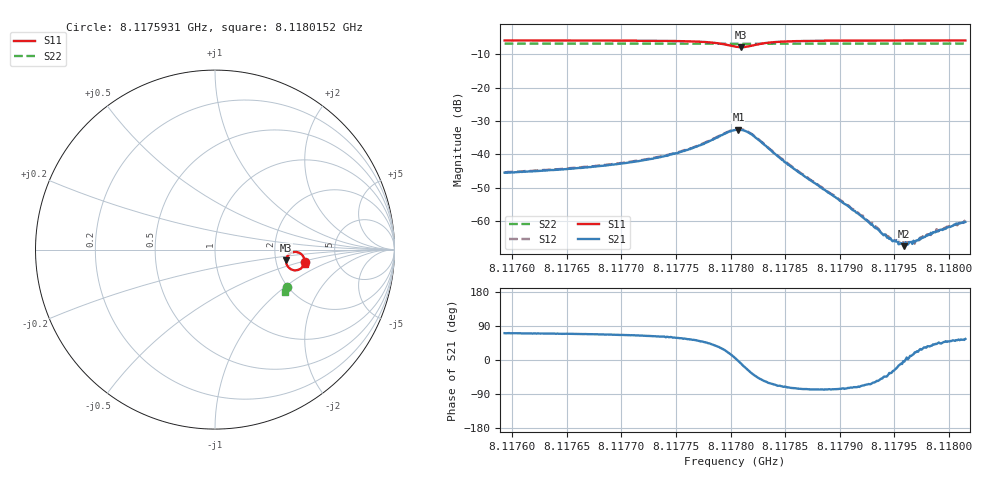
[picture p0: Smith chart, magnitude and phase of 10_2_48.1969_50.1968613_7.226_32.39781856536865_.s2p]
#  HZ  S  RI  R  50.00
! Rohde & Schwarz Vector Network Analyzer
! Rohde-Schwarz,ZNB20-2Port,1311601062101988,3.16
! Created: UTC 3/20/2024, 11:36:31 AM
! freq[Hz]  re:S11  im:S11  re:S21  im:S21  re:S12  im:S12  re:S22  im:S22
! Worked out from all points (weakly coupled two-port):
!   401 points, 8.1175931 GHz to 8.1180152 GHz, reference 50 ohm
!   highest |S21| = -32.60 dB at 8.1178073 GHz (marker M1); lowest = -67.4 dB at 8.1179592 GHz (marker M2)
!   lowest |S11| = -7.9 dB at 8.1178094 GHz (marker M3), VSWR 2.34, Z = 114 - j16 ohm
!   |S11| at or under -10 dB: nowhere
!   |S22| runs from -7.0 to -6.9 dB; largest |S21 - S12| = 0.00062
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8.11759308e9  0.5004 -0.0668  0.00175 0.00503  0.00183 0.00508  0.4017 -0.2081
8.11766377e9  0.4979 -0.0765  0.0023 0.00585  0.00242 0.00599  0.3994 -0.2127
8.11769965e9  0.4954 -0.0831  0.00296 0.00665  0.0031 0.00678  0.3982 -0.2151
8.11773447e9  0.4901 -0.0927  0.00422 0.00797  0.00439 0.0081  0.3968 -0.2176
8.11776296e9  0.4787 -0.1049  0.007 0.00972  0.00733 0.00986  0.3952 -0.2197
8.1177904e9  0.4387 -0.1148  0.0158 0.0101  0.0162 0.0102  0.3925 -0.2213
8.11780412e9  0.4003 -0.0847  0.0231 0.0021  0.0234 0.00216  0.3907 -0.2203
8.11780728e9  0.3963 -0.0697  0.0234 -0.00125  0.0239 -0.00132  0.3906 -0.2196
8.11780939e9  0.3963 -0.059  0.0231 -0.00349  0.0235 -0.00381  0.3907 -0.2194
8.11781994e9  0.4237 -0.0186  0.0158 -0.0116  0.016 -0.0119  0.3921 -0.2185
8.11784105e9  0.4776 -0.0227  0.00419 -0.00917  0.0041 -0.00948  0.3939 -0.2206
8.11787481e9  0.4959 -0.0471  0.000838 -0.00383  0.000868 -0.00391  0.3935 -0.2239
8.11790753e9  0.4989 -0.0592  0.000477 -0.00163  0.000453 -0.00167  0.3924 -0.2265
8.1179318e9  0.4995 -0.0652  0.000418 -0.000699  0.000445 -0.000724  0.3916 -0.2281
8.11793918e9  0.4994 -0.0665  0.000427 -0.000487  0.000444 -0.000507  0.3914 -0.2287
8.11794551e9  0.4994 -0.0678  0.00045 -0.000306  0.000469 -0.000333  0.3912 -0.2291
8.11795606e9  0.4995 -0.0698  0.000465 -8.03e-05  0.000488 -8.14e-05  0.3908 -0.2296
8.11795923e9  0.4994 -0.0702  0.000423 -3.14e-05  0.000457 -6.26e-06  0.3906 -0.2299
8.11796662e9  0.4994 -0.0713  0.000446 0.000107  0.000479 9.36e-05  0.3905 -0.2304
8.11798667e9  0.4993 -0.0745  0.000518 0.000447  0.000517 0.000448  0.3896 -0.2318
8.11800671e9  0.4989 -0.077  0.000563 0.000734  0.000547 0.000694  0.3891 -0.233
8.11801516e9  0.4988 -0.0782  0.000553 0.000806  0.000611 0.000821  0.3888 -0.2336
